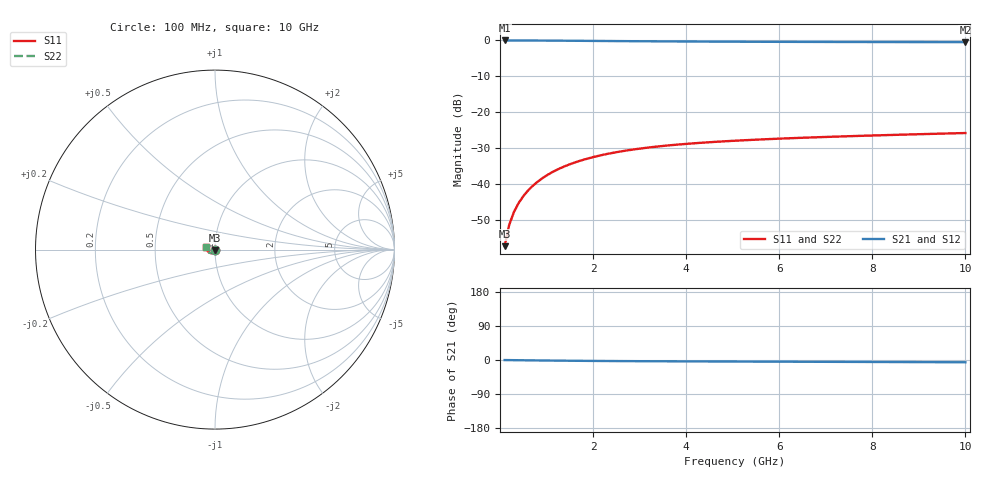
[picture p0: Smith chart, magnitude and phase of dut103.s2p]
! Touchstone file exported from HFSS 2024.1.0
!  File:  C:/UserFiles/LocalFiles/RDL_TSV_Batchsim/temp_TSV1_103_1779377148.aedt
!  Generated:  11:32:08 PM May 21, 2026
!  Design:  TSV1
!  Project:  temp_TSV1_103_1779377148
!  Setup:  Setup1
!  Solution:  Sweep
! Variables:
!  dtsv = 10.33um
!  hbump = 3um
!  htsv = 92.47um
!  lrdl = 252.1521522um
!  p = 40
!  p1 = 58.82um
!  t = 500um
!  trdl = 3um
!  wrdl = 24.89489489um
# GHz S MA R 50.000000
! Terminal data exported
! Port[1] = TSV22_T1
! Port[2] = TSV22_T2
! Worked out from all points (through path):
!   100 points, 100 MHz to 10 GHz, reference 50 ohm
!   highest |S21| = 0.00 dB at 100 MHz (marker M1); lowest = -0.5 dB at 10 GHz (marker M2)
!   lowest |S11| = -57.2 dB at 100 MHz (marker M3), VSWR 1.00, Z = 50 - j0.137 ohm
!   |S11| at or under -10 dB: start of sweep to end of sweep
!   |S22| runs from -57.2 to -25.8 dB; largest |S21 - S12| = 6.4e-15
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0.1  0.001374 -85.9  0.9998 -0.1  0.9998 -0.1  0.001374 -85.9
! Gamma 0 0 0 0
! Port Impedance 50 0 50 0
0.2  0.002736 -90.9  0.9996 -0.3  0.9996 -0.3  0.002736 -90.9
0.3  0.004098 -93.9  0.9994 -0.4  0.9994 -0.4  0.004098 -93.9
0.4  0.005453 -96.5  0.999 -0.6  0.999 -0.6  0.005453 -96.5
0.5  0.006797 -98.8  0.9986 -0.7  0.9986 -0.7  0.006797 -98.8
0.6  0.008125 -101.0  0.998 -0.9  0.998 -0.9  0.008125 -101.0
0.7  0.009434 -103.2  0.9974 -1.0  0.9974 -1.0  0.009434 -103.2
0.8  0.01072 -105.3  0.9967 -1.1  0.9967 -1.1  0.01072 -105.3
0.9  0.01198 -107.4  0.996 -1.3  0.996 -1.3  0.01198 -107.4
1.1  0.01442 -111.4  0.9943 -1.5  0.9943 -1.5  0.01442 -111.4
1.4  0.01785 -117.1  0.9915 -1.9  0.9915 -1.9  0.01785 -117.1
1.6  0.01997 -120.8  0.9894 -2.1  0.9894 -2.1  0.01997 -120.8
1.8  0.02195 -124.2  0.9873 -2.3  0.9873 -2.3  0.02195 -124.2
2.1  0.02468 -129.2  0.9841 -2.5  0.9841 -2.5  0.02468 -129.2
2.5  0.02788 -135.3  0.9799 -2.8  0.9799 -2.8  0.02788 -135.3
2.9  0.03062 -140.8  0.976 -3.1  0.976 -3.1  0.03062 -140.8
3.4  0.03352 -147.1  0.9716 -3.4  0.9716 -3.4  0.03352 -147.1
4.2  0.03722 -155.8  0.9656 -3.7  0.9656 -3.7  0.03722 -155.8
5.1  0.04043 -164.1  0.9604 -4.1  0.9604 -4.1  0.04043 -164.1
6.7  0.04475 -176.2  0.954 -4.7  0.954 -4.7  0.04475 -176.2
8.4  0.04841 173.5  0.9496 -5.4  0.9496 -5.4  0.04841 173.5
10  0.05153 165.4  0.9469 -6.0  0.9469 -6.0  0.05153 165.4
